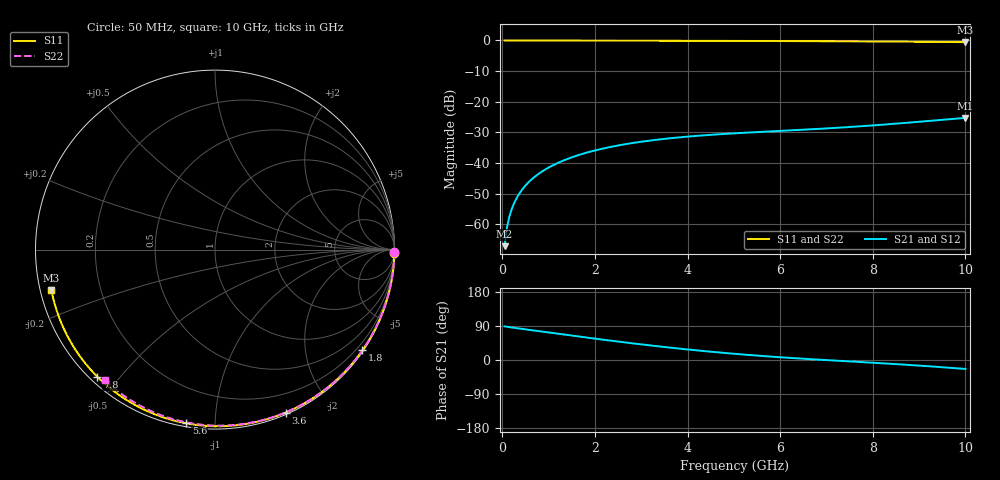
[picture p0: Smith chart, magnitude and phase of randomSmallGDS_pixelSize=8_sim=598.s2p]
! freq	dB(S11)	phase(S11)	dB(S12)	phase(S12)
!  dB(S21)	phase(S21)	dB(S22)	phase(S22)
!S-par simulation data
#  GHz  S  DB  R 50
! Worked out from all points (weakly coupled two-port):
!   200 points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, 50 MHz to 10 GHz, reference 50 ohm
!   highest |S21| = -25.28 dB at 10 GHz (marker M1); lowest = -67.2 dB at 50 MHz (marker M2)
!   lowest |S11| = -0.5 dB at 10 GHz (marker M3), VSWR 31.74, Z = 1.6 - j6.12 ohm
!   |S11| at or under -10 dB: nowhere
!   |S22| runs from -0.4 to 0.0 dB; largest |S21 - S12| = 0
!   S11 on the Smith chart (normalised r, x): 50 MHz: open; 1.8 GHz: 0.03, -3.24; 3.6 GHz: 0.02, -1.52; 5.6 GHz: 0.02, -0.85; 7.8 GHz: 0.02, -0.44; 10 GHz: 0.03, -0.12
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0.05  -0.00 -1.0  -67.16 88.8  -67.16 88.8  -0.00 -0.8
0.1  -0.00 -1.9  -61.17 87.8  -61.17 87.8  -0.00 -1.5
0.15  -0.00 -2.9  -57.68 86.8  -57.68 86.8  -0.00 -2.3
0.2  -0.00 -3.9  -55.21 85.8  -55.21 85.8  -0.00 -3.1
0.35  -0.01 -6.8  -50.43 83.3  -50.43 83.3  -0.00 -5.3
0.5  -0.01 -9.7  -47.38 80.9  -47.38 80.9  -0.01 -7.6
0.7  -0.02 -13.5  -44.51 77.6  -44.51 77.6  -0.01 -10.6
1  -0.02 -19.3  -41.50 72.6  -41.50 72.6  -0.02 -15.1
1.35  -0.03 -25.9  -39.02 66.8  -39.02 66.8  -0.03 -20.4
1.75  -0.04 -33.4  -36.94 60.3  -36.94 60.3  -0.03 -26.3
1.8  -0.04 -34.3  -36.72 59.5  -36.72 59.5  -0.04 -27.0
2.6  -0.06 -49.0  -34.02 47.1  -34.02 47.1  -0.05 -38.6
3.4  -0.09 -63.1  -32.30 35.6  -32.30 35.6  -0.07 -49.9
3.6  -0.09 -66.6  -31.97 32.9  -31.97 32.9  -0.07 -52.7
4.3  -0.11 -78.4  -31.03 24.2  -31.03 24.2  -0.09 -62.2
5.05  -0.14 -90.6  -30.29 16.0  -30.29 16.0  -0.11 -72.1
5.6  -0.17 -99.4  -29.84 10.7  -29.84 10.7  -0.13 -79.1
6.7  -0.23 -116.3  -28.98 1.9  -28.98 1.9  -0.18 -92.7
7.8  -0.31 -132.7  -27.95 -5.8  -27.95 -5.8  -0.24 -105.6
8.35  -0.36 -140.9  -27.34 -9.7  -27.34 -9.7  -0.28 -111.9
9.2  -0.45 -153.7  -26.31 -16.4  -26.31 -16.4  -0.36 -121.4
10  -0.55 -166.0  -25.28 -23.6  -25.28 -23.6  -0.44 -130.2
